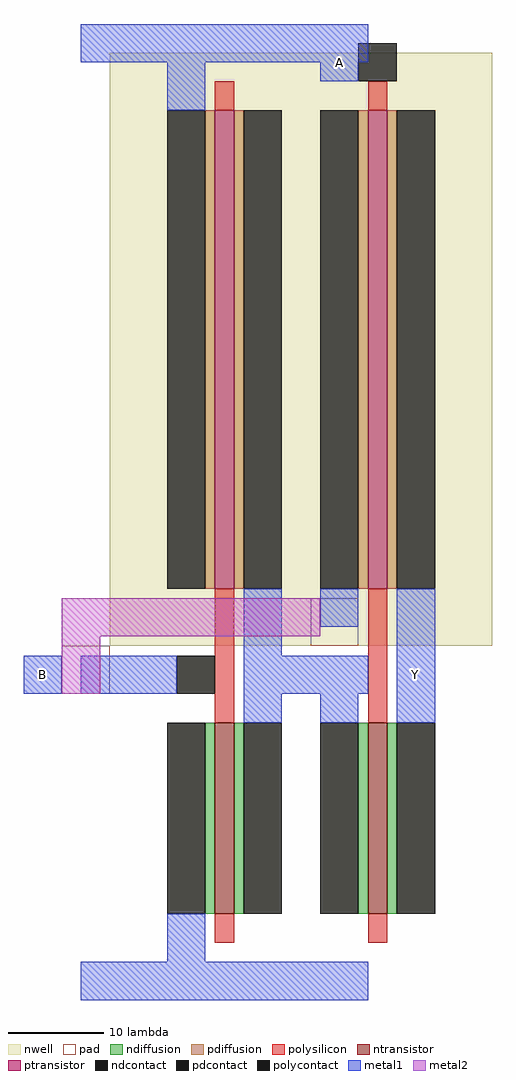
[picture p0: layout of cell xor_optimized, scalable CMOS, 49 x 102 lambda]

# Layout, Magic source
magic
tech scmos
<< nwell >>
rect 26 37 44 99
<< ntransistor >>
rect 31 9 33 29
<< ptransistor >>
rect 31 43 33 93
<< ndiffusion >>
rect 30 9 31 29
rect 33 9 34 29
<< pdiffusion >>
rect 30 43 31 93
rect 33 43 34 93
<< ndcontact >>
rect 26 9 30 29
rect 34 9 38 29
<< pdcontact >>
rect 26 43 30 93
rect 34 43 38 93
<< polysilicon >>
rect 31 93 33 96
rect 31 29 33 43
rect 31 6 33 9
<< polycontact >>
rect 30 96 34 100
<< metal1 >>
rect 26 96 30 100
rect 26 39 30 43
rect -5 32 -1 36
rect 3 32 7 36
rect 22 32 30 36
rect 26 29 30 32
rect 34 29 38 43
<< metal2 >>
rect -1 38 26 42
rect -1 32 3 38
<< pad >>
rect 25 37 30 42
rect -1 32 4 37
use inv_cmos  inv_cmos_0 ../../../inv/cmos/post_layout
transform 1 0 4 0 1 37
box 0 -37 24 65
<< labels >>
rlabel metal1 -5 32 -1 36 3 B
rlabel metal1 26 96 30 100 5 A
rlabel metal1 34 32 38 36 1 Y
<< end >>

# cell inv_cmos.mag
magic
tech scmos
<< nwell >>
rect 0 0 24 62
<< ntransistor >>
rect 11 -28 13 -8
<< ptransistor >>
rect 11 6 13 56
<< ndiffusion >>
rect 10 -28 11 -8
rect 13 -28 14 -8
<< pdiffusion >>
rect 10 6 11 56
rect 13 6 14 56
<< ndcontact >>
rect 6 -28 10 -8
rect 14 -28 18 -8
<< pdcontact >>
rect 6 6 10 56
rect 14 6 18 56
<< polysilicon >>
rect 11 56 13 59
rect 11 -8 13 6
rect 11 -31 13 -28
<< polycontact >>
rect 7 -5 11 -1
<< metal1 >>
rect -3 61 27 65
rect 6 56 10 61
rect 14 -1 18 6
rect -3 -5 7 -1
rect 14 -5 27 -1
rect 14 -8 18 -5
rect 6 -33 10 -28
rect -3 -37 27 -33
<< labels >>
rlabel metal1 10 64 11 65 5 vdd
rlabel metal1 12 -36 13 -35 1 gnd
rlabel metal1 25 -4 26 -3 7 OUT
rlabel metal1 0 -3 1 -2 3 IN
<< end >>
